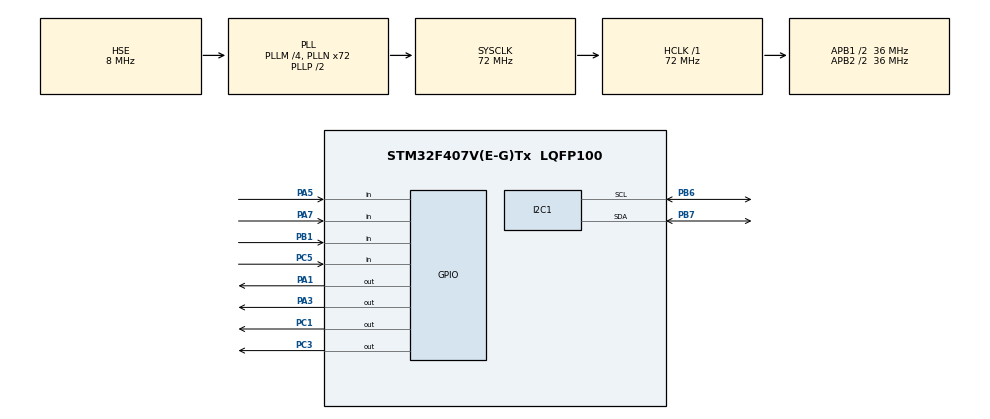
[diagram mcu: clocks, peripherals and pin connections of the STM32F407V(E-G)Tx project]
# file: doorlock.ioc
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Mcu.Family=STM32F4
Mcu.Name=STM32F407V(E-G)Tx
Mcu.Package=LQFP100
NVIC.PriorityGroup=NVIC_PRIORITYGROUP_0
PA1.Signal=GPIO_Output
PA13.Mode=Serial_Wire
PA13.Signal=SYS_JTMS-SWDIO
PA14.Mode=Serial_Wire
PA14.Signal=SYS_JTCK-SWCLK
PA3.Signal=GPIO_Output
PA5.Signal=GPIO_Input
PA7.Signal=GPIO_Input
PB1.Signal=GPIO_Input
PB6.Mode=I2C
PB6.Signal=I2C1_SCL
PB7.Mode=I2C
PB7.Signal=I2C1_SDA
PC1.Signal=GPIO_Output
PC3.Signal=GPIO_Output
PC5.Signal=GPIO_Input
PH0-OSC_IN.Mode=HSE-External-Oscillator
PH0-OSC_IN.Signal=RCC_OSC_IN
PH1-OSC_OUT.Mode=HSE-External-Oscillator
PH1-OSC_OUT.Signal=RCC_OSC_OUT
ProjectManager.HeapSize=0x200
ProjectManager.StackSize=0x400
ProjectManager.TargetToolchain=STM32CubeIDE
RCC.48MHZClocksFreq_Value=20571428.57142857
RCC.AHBFreq_Value=72000000
RCC.APB1CLKDivider=RCC_HCLK_DIV2
RCC.APB1Freq_Value=36000000
RCC.APB1TimFreq_Value=72000000
RCC.APB2CLKDivider=RCC_HCLK_DIV2
RCC.APB2Freq_Value=36000000
RCC.APB2TimFreq_Value=72000000
RCC.CortexFreq_Value=72000000
RCC.HCLKFreq_Value=72000000
RCC.HSE_VALUE=8000000
RCC.HSI_VALUE=16000000
RCC.PLLM=4
RCC.PLLN=72
RCC.PLLQ=7
RCC.PLLSourceVirtual=RCC_PLLSOURCE_HSE
RCC.SYSCLKFreq_VALUE=72000000
RCC.SYSCLKSource=RCC_SYSCLKSOURCE_PLLCLK
RCC.VCOOutputFreq_Value=144000000
VP_TIM2_VS_ClockSourceITR.Mode=TriggerSource_ITR0
VP_TIM2_VS_ControllerModeClock.Mode=Clock Mode
board=STM32F407G-DISC1

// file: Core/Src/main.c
/* USER CODE BEGIN Header */
/**
  ******************************************************************************
  * @file           : main.c
  * @brief          : Main program body
  ******************************************************************************
  * @attention
  *
  * Copyright (c) 2024 STMicroelectronics.
  * All rights reserved.
  *
  * This software is licensed under terms that can be found in the LICENSE file
  * in the root directory of this software component.
  * If no LICENSE file comes with this software, it is provided AS-IS.
  *
  ******************************************************************************
  */
/* USER CODE END Header */
#include "main.h"
#include "STM32F407_KeypadDriver.h"
#include "i2c-lcd.h"
#include<string.h>

I2C_HandleTypeDef hi2c1;

TIM_HandleTypeDef htim2;

void SystemClock_Config(void);
static void MX_GPIO_Init(void);
static void MX_I2C1_Init(void);
static void MX_TIM2_Init(void);

/* USER CODE BEGIN 0 */
#define PASSWORD "1234"
/* USER CODE END 0 */

int main(void)
{

  /* MCU Configuration--------------------------------------------------------*/

  /* Reset of all peripherals, Initializes the Flash interface and the Systick. */
  HAL_Init();

  /* Configure the system clock */
  SystemClock_Config();

  /* Initialize all configured peripherals */
  MX_GPIO_Init();
  MX_I2C1_Init();
  MX_TIM2_Init();
  /* USER CODE BEGIN 2 */
  HAL_TIM_PWM_Start(&htim2, TIM_CHANNEL_1);//start pwm
  lcd_init ();
  KEYPAD_Init();
  lcd_clear();
   lcd_send_cmd(0x80);// setting the cursor position to the start of the first line of the display
   lcd_send_string("Password:");

   htim2.Instance->CCR1 =75; // setting the duty cycle of the PWM signal on TIM2 channel 1 to 75%,
                             //meaning the signal will be high for 75% of the total period.
   char Key = KEYPAD_NOT_PRESSED;
   char Par = KEYPAD_NOT_PRESSED;
   char inputPassword[5];
   inputPassword[4] = '\0'; // put 0 in the 5th char, ensure that if inputPassword is used as a string,
   //it will be properly terminated, allowing functions that operate on strings to recognize the end of the data.

   uint8_t i=0;
   uint8_t b=0;
  /* USER CODE END 2 */

  /* Infinite loop */
  while (1)
  {

    /* USER CODE BEGIN 3 */
	  Key =KEYPAD_Read();

	  if(Key != KEYPAD_NOT_PRESSED)
	   {
	        uint8_t adresse=0x89;
  	        lcd_send_cmd(adresse+i);
	  	    lcd_send_data('*');
	  	 	inputPassword[i]=Key;

	  	 i++;
	   }

	  if(i==4)
	{
	if (strcmp(inputPassword, PASSWORD) == 0) // The strcmp() function compares two strings character by character and returns 0 if the strings are equal.
	{
	  lcd_clear();
	  lcd_send_cmd(0x80);
	  lcd_send_string("Correct !");
	  HAL_Delay(1000);
	  lcd_send_cmd(0x80);
	  lcd_send_string("the door is opened");
	  htim2.Instance->CCR1 =125;
	  lcd_send_cmd(0xC0);
	  lcd_send_string("D: locked door");

	 while(1)
	 {
       Par=KEYPAD_Read();
	  	 if(Par=='D')
	  	 	{
	  	 	 htim2.Instance->CCR1 =75;
	  	     break;
	        }
	}
       i++;
	  	  }
	else {
	  	 lcd_clear();
         lcd_send_cmd(0x80);
	  	 lcd_send_string("Incorrect !");
	  	 lcd_send_cmd(0xC0);
	  	lcd_send_string("Try again.. ");
	     HAL_Delay(2000);
	     b++;
	 if(b==3)
	{
	  	 lcd_clear();
	     lcd_send_cmd(0x80);
	     lcd_send_string("door blocked !");
	  	 lcd_send_cmd(0xC0);
	  	lcd_send_string("#: Exit");
	 while(1)
	  {
     	Par=KEYPAD_Read();
	  	if(Par=='#')
	   	{
	  	 	b=0;
	     	break;
	  	}
}
}

    i++;
 }
	if(i==5)
	{
	  lcd_clear();
	  lcd_send_cmd(0x80);
	  lcd_send_string("Password:");
      i=0;
	}

}
}
  /* USER CODE END 3 */
}

void SystemClock_Config(void)
{
  RCC_OscInitTypeDef RCC_OscInitStruct = {0};
  RCC_ClkInitTypeDef RCC_ClkInitStruct = {0};

  /** Configure the main internal regulator output voltage
  */
  __HAL_RCC_PWR_CLK_ENABLE();
  __HAL_PWR_VOLTAGESCALING_CONFIG(PWR_REGULATOR_VOLTAGE_SCALE1);

  /** Initializes the RCC Oscillators according to the specified parameters
  * in the RCC_OscInitTypeDef structure.
  */
  RCC_OscInitStruct.OscillatorType = RCC_OSCILLATORTYPE_HSE;
  RCC_OscInitStruct.HSEState = RCC_HSE_ON;
  RCC_OscInitStruct.PLL.PLLState = RCC_PLL_ON;
  RCC_OscInitStruct.PLL.PLLSource = RCC_PLLSOURCE_HSE;
  RCC_OscInitStruct.PLL.PLLM = 4;
  RCC_OscInitStruct.PLL.PLLN = 72;
  RCC_OscInitStruct.PLL.PLLP = RCC_PLLP_DIV2;
  RCC_OscInitStruct.PLL.PLLQ = 7;
  if (HAL_RCC_OscConfig(&RCC_OscInitStruct) != HAL_OK)
  {
    Error_Handler();
  }

  /** Initializes the CPU, AHB and APB buses clocks
  */
  RCC_ClkInitStruct.ClockType = RCC_CLOCKTYPE_HCLK|RCC_CLOCKTYPE_SYSCLK
                              |RCC_CLOCKTYPE_PCLK1|RCC_CLOCKTYPE_PCLK2;
  RCC_ClkInitStruct.SYSCLKSource = RCC_SYSCLKSOURCE_PLLCLK;
  RCC_ClkInitStruct.AHBCLKDivider = RCC_SYSCLK_DIV1;
  RCC_ClkInitStruct.APB1CLKDivider = RCC_HCLK_DIV2;
  RCC_ClkInitStruct.APB2CLKDivider = RCC_HCLK_DIV2;

  if (HAL_RCC_ClockConfig(&RCC_ClkInitStruct, FLASH_LATENCY_2) != HAL_OK)
  {
    Error_Handler();
  }
}

static void MX_I2C1_Init(void)
{

  hi2c1.Instance = I2C1;
  hi2c1.Init.ClockSpeed = 100000;
  hi2c1.Init.DutyCycle = I2C_DUTYCYCLE_2;
  hi2c1.Init.OwnAddress1 = 0;
  hi2c1.Init.AddressingMode = I2C_ADDRESSINGMODE_7BIT;
  hi2c1.Init.DualAddressMode = I2C_DUALADDRESS_DISABLE;
  hi2c1.Init.OwnAddress2 = 0;
  hi2c1.Init.GeneralCallMode = I2C_GENERALCALL_DISABLE;
  hi2c1.Init.NoStretchMode = I2C_NOSTRETCH_DISABLE;
  if (HAL_I2C_Init(&hi2c1) != HAL_OK)
  {
    Error_Handler();
  }

}

static void MX_TIM2_Init(void)
{

  TIM_SlaveConfigTypeDef sSlaveConfig = {0};
  TIM_MasterConfigTypeDef sMasterConfig = {0};

  htim2.Instance = TIM2;
  htim2.Init.Prescaler = 0;
  htim2.Init.CounterMode = TIM_COUNTERMODE_UP;
  htim2.Init.Period = 4294967295;
  htim2.Init.ClockDivision = TIM_CLOCKDIVISION_DIV1;
  htim2.Init.AutoReloadPreload = TIM_AUTORELOAD_PRELOAD_DISABLE;
  if (HAL_TIM_Base_Init(&htim2) != HAL_OK)
  {
    Error_Handler();
  }
  sSlaveConfig.SlaveMode = TIM_SLAVEMODE_EXTERNAL1;
  sSlaveConfig.InputTrigger = TIM_TS_ITR0;
  if (HAL_TIM_SlaveConfigSynchro(&htim2, &sSlaveConfig) != HAL_OK)
  {
    Error_Handler();
  }
  sMasterConfig.MasterOutputTrigger = TIM_TRGO_RESET;
  sMasterConfig.MasterSlaveMode = TIM_MASTERSLAVEMODE_DISABLE;
  if (HAL_TIMEx_MasterConfigSynchronization(&htim2, &sMasterConfig) != HAL_OK)
  {
    Error_Handler();
  }

}

static void MX_GPIO_Init(void)
{
  GPIO_InitTypeDef GPIO_InitStruct = {0};

  /* GPIO Ports Clock Enable */
  __HAL_RCC_GPIOH_CLK_ENABLE();
  __HAL_RCC_GPIOC_CLK_ENABLE();
  __HAL_RCC_GPIOA_CLK_ENABLE();
  __HAL_RCC_GPIOB_CLK_ENABLE();

  /*Configure GPIO pin Output Level */
  HAL_GPIO_WritePin(GPIOC, GPIO_PIN_1|GPIO_PIN_3, GPIO_PIN_RESET);

  /*Configure GPIO pin Output Level */
  HAL_GPIO_WritePin(GPIOA, GPIO_PIN_1|GPIO_PIN_3, GPIO_PIN_RESET);

  /*Configure GPIO pins : PC1 PC3 */
  GPIO_InitStruct.Pin = GPIO_PIN_1|GPIO_PIN_3;
  GPIO_InitStruct.Mode = GPIO_MODE_OUTPUT_PP;
  GPIO_InitStruct.Pull = GPIO_NOPULL;
  GPIO_InitStruct.Speed = GPIO_SPEED_FREQ_LOW;
  HAL_GPIO_Init(GPIOC, &GPIO_InitStruct);

  /*Configure GPIO pins : PA1 PA3 */
  GPIO_InitStruct.Pin = GPIO_PIN_1|GPIO_PIN_3;
  GPIO_InitStruct.Mode = GPIO_MODE_OUTPUT_PP;
  GPIO_InitStruct.Pull = GPIO_NOPULL;
  GPIO_InitStruct.Speed = GPIO_SPEED_FREQ_LOW;
  HAL_GPIO_Init(GPIOA, &GPIO_InitStruct);

  /*Configure GPIO pins : PA5 PA7 */
  GPIO_InitStruct.Pin = GPIO_PIN_5|GPIO_PIN_7;
  GPIO_InitStruct.Mode = GPIO_MODE_INPUT;
  GPIO_InitStruct.Pull = GPIO_NOPULL;
  HAL_GPIO_Init(GPIOA, &GPIO_InitStruct);

  /*Configure GPIO pin : PC5 */
  GPIO_InitStruct.Pin = GPIO_PIN_5;
  GPIO_InitStruct.Mode = GPIO_MODE_INPUT;
  GPIO_InitStruct.Pull = GPIO_NOPULL;
  HAL_GPIO_Init(GPIOC, &GPIO_InitStruct);

  /*Configure GPIO pin : PB1 */
  GPIO_InitStruct.Pin = GPIO_PIN_1;
  GPIO_InitStruct.Mode = GPIO_MODE_INPUT;
  GPIO_InitStruct.Pull = GPIO_NOPULL;
  HAL_GPIO_Init(GPIOB, &GPIO_InitStruct);

}

void Error_Handler(void)
{
  __disable_irq();
  while (1)
  {
  }
}
